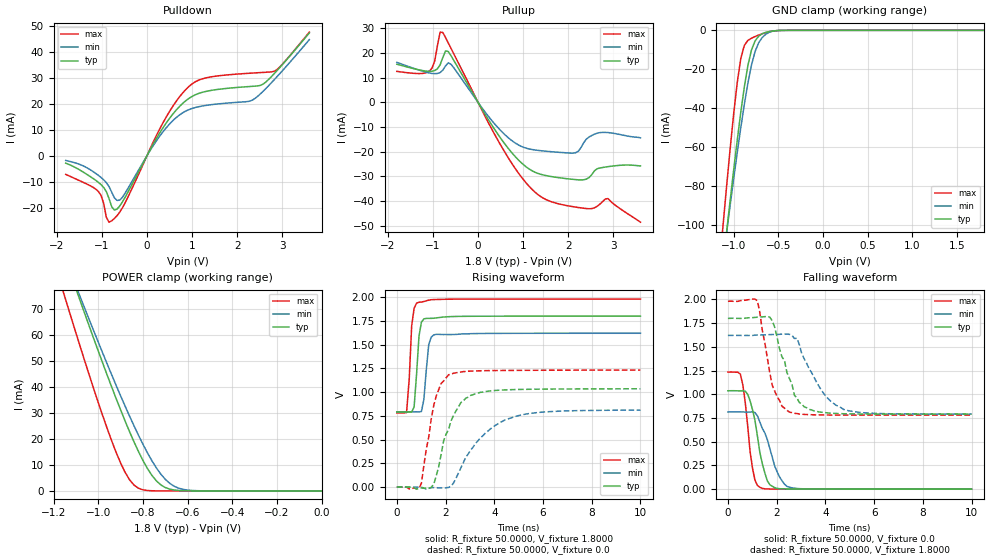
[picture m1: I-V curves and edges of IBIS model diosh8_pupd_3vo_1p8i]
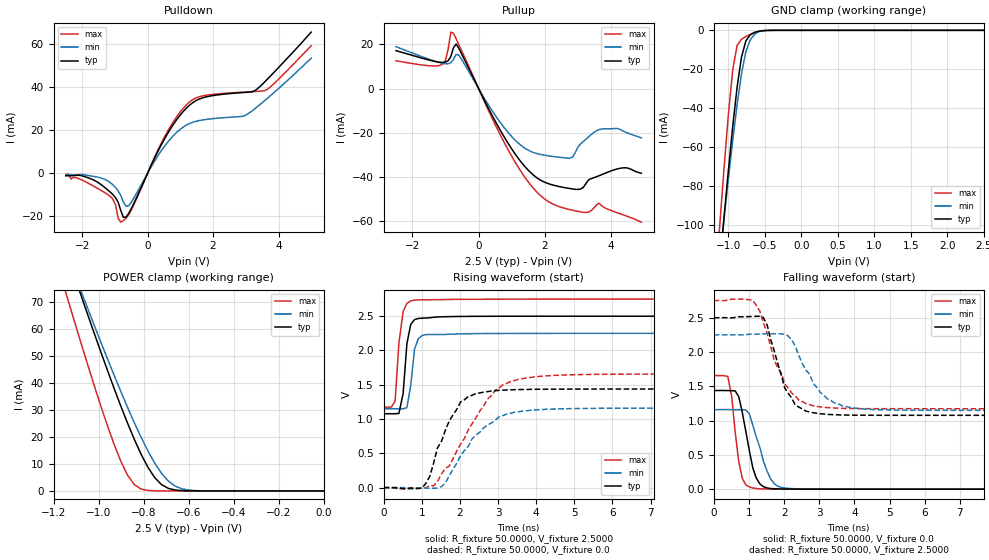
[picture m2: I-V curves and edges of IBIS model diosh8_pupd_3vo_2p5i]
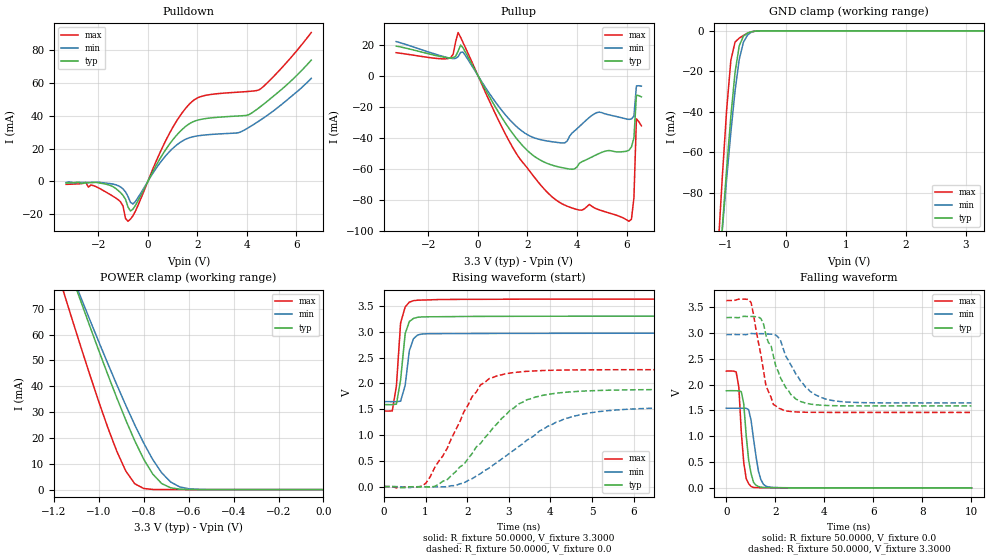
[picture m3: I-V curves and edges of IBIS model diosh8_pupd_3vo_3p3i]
| SMSC
| 80 Arkay Drive
| Hauppauge,NY 11788
[IBIS Ver]   4.0
[Comment char]  |_char
[File name]   lan8742i.ibs
[File Rev]   1.0
[Date]   21-APR-2009
[Source]
 Smc2Ibis2.6 Pin Info
 ibispkg1.0 Package Summary Info
 ibisrev1.0 Revision Control Info
 s2ibis2 Version 0.91BETA SPICE to IBIS
   North Carolina State
   Electronics Research Laboratory 1995
   as modified
[Notes] created by SMSC
[Disclaimer]
 SMSC herby grants
 the user of this IBIS model a non-exclusive,
 nontransferrable license to use this IBIS model
 under the following terms. Before using this
 IBIS model, the user should read this license.
 If the user does not accept these terms. the
 IBIS model should be returned to SMSC within 30
 days.
 The user is granted this license only to use
 the IBIS model and is not granted rights to
 sell, load, rent, lease or license the IBIS
 model in whole or in part, or in modified form
 to anyone other than user. User may modify the
 IBIS model to suit its specific applications
 but rights to derivative works and such
 modifications shall belong to SMSC.
 The IBIS model is provided on an "AS IS" basis
 and SMSC makes no warranty with respect to the
 information contained herein. SMSC DISCLAIMS
 AND CUSTOMER WAIVES ALL WARRANTIES, EXPRESS OR
 IMPLIED, INCLUDING WARRANTIES OF MERCHANTABILITY
 OR FITNESS FOR A PARTICULAR PURPOSE. The entire
 risk as to quality and performance is with the
 Customer. ACCORDINGLY, IN NO EVENT SHALL THE
 COMPANY BE LIABLE FOR ANY DAMAGE, WHETHER IN
 CONTRACT OR TORT, INCLUDING ANY LOST PROFITS
 OR OTHER INCIDENTAL, CONSEQUENTIAL, EXEMPLARY,
 OR PUNITIVE DAMAGES ARISING OUT OF THE USE OR
 APPLICATION OF THE IBIS model provided in this
 package. Further, SMSC reserves the right to
 make changes without notice to any product
 herein to improve reliability, function, or
 design. SMSC does not convey any license under
 patent rights or any other intellectual
 property rights, including those of third
 parties.
 SMSC is not obligated to provide maintaince
 or support for the licensed IBIS model.
[Copyright] (C) Copyright 2008, Standard Microsystems Corporation,
   All Rights Reserved
[Component] lan8742i
[Manufacturer] SMSC
[Package]
| variable   typ   min   max
R_pkg   137.9m   76.82m   198.95m
L_pkg   0.99nH   0.67nH   1.30nH
C_pkg   1.8pF   0.20pF   3.4pF
| ----Pin----
[Pin] signal_name   model_name   R_pin   L_pin   C_pin
1   VDD2A   POWER   146.25m   1.14n   0.24p
2   LED2/nINTSEL   diosh12_pupd_5i   124.97m   1.04n   0.22p
3   LED1/REGOFF   diosh12_pupd_5i   116.89m   0.96n   0.21p
4   XTAL2   apada_5i   120.11m   1.01n   0.21p
5   XTAL1/CLKIN   apada_5i   138.30m   1.18n   0.22p
6   VDDCR   POWER   189.80m   1.30n   0.30p
7   RXD1/MODE1   diosh8_pupd_3vo   139.92m   1.21n   0.22p
8   RXD0/MODE0   diosh8_pupd_3vo   123.21m   1.02n   0.22p
9   VDDIO   POWER   128.11m   0.94n   0.22p
10   RXER/RXD4/PHYAD0  diosh8_pupd_3vo   114.84m   0.95n   0.20p
11   COL/CRS_DV/MODE2  diosh8_pupd_3vo   120.22m   1.00n   0.21p
12   MDIO   diosh8_pupd_3vo   138.28m   1.18n   0.23p
13   MDC   diosh8_pupd_3vo   138.01m   1.18n   0.22p
14   nINT/TXER/TXD4   diosh8_pupd_3vo   121.15m   1.01n   0.21p
15   nRST   diosh8_pupd_3vo   115.94m   0.96n   0.20p
16   TXEN   diosh8_pupd_3vo   115.99m   0.96n   0.20p
17   TXD0   diosh8_pupd_3vo   127.09m   1.05n   0.22p
18   TXD1   diosh8_pupd_3vo   145.42m   1.26n   0.23p
19   VDD1A   POWER   198.95m   1.25n   0.29p
20   TXN   apada_5i   134.31m   1.10n   0.22p
21   TXP   apada_5i   118.66m   0.97n   0.21p
22   RXN   apada_5i   115.62m   0.94n   0.20p
23   RXP   apada_5i   126.52m   1.04n   0.22p
24   RBIAS   NC   134.69m   1.16n   0.21p
25   GND   GND   76.82m   0.67n   3.40p
| PinMap
[Pin Mapping]	pulldown_ref	pullup_ref	gnd_clamp_ref	power_clamp_ref
1   NC   VDD2A   NC   NC
2   GND   VDDIO   GND   VDDIO
3   GND   VDDIO   GND   VDDIO
4   NC   NC   NC   NC
5   NC   NC   NC   NC
6   NC   VDDCR   NC   NC
7   GND   VDDIO   GND   VDDIO
8   GND   VDDIO   GND   VDDIO
9   NC   VDDIO   NC   NC
10   GND   VDDIO   GND   VDDIO
11   GND   VDDIO   GND   VDDIO
12   GND   VDDIO   GND   VDDIO
13   GND   VDDIO   GND   VDDIO
14   GND   VDDIO   GND   VDDIO
15   GND   VDDIO   GND   VDDIO
16   GND   VDDIO   GND   VDDIO
17   GND   VDDIO   GND   VDDIO
18   GND   VDDIO   GND   VDDIO
19   NC   VDD1A   NC   NC
20   GND   VDDIO   GND   VDDIO
21   GND   VDDIO   GND   VDDIO
22   GND   VDDIO   GND   VDDIO
23   GND   VDDIO   GND   VDDIO
24   NC   NC   NC   NC
25   GND   NC   NC   NC
| IBIS file apad_5.ibs created by s2ibis3 version 1.2
| North Carolina State University, ERL, 2006
[Model Selector]   diosh8_pupd_3vo
| Remark: If your software does not support the Model Selector
|   Please comment out the lines of the Model Selector, which
|   contain the name of the Model, except the one you want to use.
diosh8_pupd_3vo_1p8i  industrial temp 1.8V I/O model
diosh8_pupd_3vo_2p5i  industrial temp 2.5V I/O model
diosh8_pupd_3vo_3p3i  industrial temp 3.3V I/O model
| Models and submodels in the file (5): diosh8_pupd_3vo_1p8i (I/O), diosh8_pupd_3vo_2p5i (I/O), diosh8_pupd_3vo_3p3i (I/O), diosh12_pupd_5i (I/O), apada_5i (Input)
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|   Model diosh8_pupd_3vo_1p8i
[Model]  diosh8_pupd_3vo_1p8i
Model_type I/O
Polarity   Non-Inverting
Enable   Active-Low
Vinl =   0.0V
Vinh =   1.8000V
Vmeas =  1.6500V
Vref =   0.0V
C_comp   1.5710pF   1.4139pF   1.7281pF
[Temperature Range]   42.0000   85.0000   -40.0000
[Voltage Range]   1.8000V   1.6200V   1.9800V
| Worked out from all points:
|   slope of the pulldown table from 0 to 0.27 V, typ, clamps not added: 32.1 ohm
|   slope of the pullup table from 0 to 0.27 V, typ, clamps not added: 32.9 ohm
|   GND clamp passes 1 mA (typ) near -0.64 V on its own axis
|   POWER clamp passes 1 mA (typ) near -0.69 V on its own axis
|   rising waveform, R_fixture 50.0000, V_fixture 1.8000: 20-80 % time 162ps typ, 171ps min, 160ps max; typ from 0.791 V to 1.8 V
|   rising waveform, R_fixture 50.0000, V_fixture 0.0: 20-80 % time 782ps typ, 1.48ns min, 536ps max; typ from 0 V to 1.04 V
|   falling waveform, R_fixture 50.0000, V_fixture 0.0: 20-80 % time 460ps typ, 661ps min, 322ps max; typ from 1.04 V to 0 V
|   falling waveform, R_fixture 50.0000, V_fixture 1.8000: 20-80 % time 707ps typ, 1.1ns min, 567ps max; typ from 1.8 V to 0.791 V
[Pulldown]
|Voltage   I(typ)   I(min)   I(max)
-1.8V     -2.825mA   -1.774mA   -7.153mA
-1.08V    -10.17mA   -7.484mA   -13.67mA
-840mV    -16.49mA   -11.86mA   -25.6mA
-780mV    -19.66mA   -14.05mA   -25.06mA
-660mV    -20.51mA   -17.23mA   -23.02mA
-540mV    -17.69mA   -15.92mA   -19.97mA
360mV     10.9mA     9.343mA    12.84mA
900mV     21.75mA    17.58mA    26.23mA
1.32V     24.87mA    19.46mA    30.09mA
2.34V     26.79mA    21.5mA     31.91mA
2.88V     32.79mA    30.45mA    33.22mA
3.6V      47.39mA    44.81mA    47.71mA
[Pullup]
|Voltage   I(typ)   I(min)   I(max)
-1.8V     15.47mA    16.22mA    12.56mA
-1.08V    12.57mA    11.93mA    12.65mA
-960mV    12.91mA    11.62mA    16.79mA
-840mV    15.21mA    12.09mA    28.5mA
-780mV    18.2mA     13.06mA    28.33mA
-600mV    18.97mA    15.48mA    21.94mA
480mV     -14mA      -11.02mA   -16.66mA
1.2V      -27.79mA   -19.14mA   -35.35mA
2.16V     -31.34mA   -20.47mA   -42.49mA
2.46V     -30.54mA   -14.08mA   -43.17mA
2.88V     -26.09mA   -12.26mA   -39.03mA
3.6V      -25.8mA    -14.39mA   -48.62mA
[GND_clamp]
|Voltage   I(typ)   I(min)   I(max)
-1.8V     -421.3mA   -375.8mA   -471.8mA
-1.12V    -120.8mA   -118.7mA   -100.9mA
-1.08V    -104.1mA   -104.3mA   -80.76mA
-1.04V    -87.79mA   -90.18mA   -61.39mA
-1V       -71.87mA   -76.36mA   -43.18mA
-960mV    -56.56mA   -62.94mA   -27.03mA
-920mV    -42.12mA   -50.07mA   -14.56mA
-880mV    -29.03mA   -37.99mA   -7.711mA
-800mV    -10.08mA   -17.85mA   -4.028mA
-720mV    -3.018mA   -6.428mA   -2.429mA
-560mV    -334.2uA   -402.9uA   -376.2uA
1.8V      -30.54pA   -780.5pA   66.51pA
[POWER_clamp]
|Voltage   I(typ)   I(min)   I(max)
-1.8V     255.5mA    238.4mA    264.1mA
-1.16V    92.47mA    92.04mA    77.5mA
-1.14V    87.55mA    87.61mA    71.89mA
-1.08V    72.91mA    74.44mA    55.31mA
-980mV    49.17mA    53.01mA    28.97mA
-920mV    35.57mA    40.63mA    14.88mA
-860mV    22.85mA    28.83mA    4.332mA
-820mV    15.2mA     21.46mA    1.04mA
-740mV    3.907mA    8.914mA    24.48uA
-700mV    1.311mA    4.498mA    3.471uA
-640mV    175.3uA    1.058mA    184.8nA
0V        682.2pA    2.209nA    242.5pA
[Ramp]
| variable   typ   min   max
dV/dt_r  0.6213/0.8013n   0.4866/1.4781n   0.7397/0.4983n
dV/dt_f  0.6054/0.7318n   0.4972/1.0170n   0.7196/0.5278n
R_load = 50.0000
[Rising Waveform]
R_fixture= 50.0000
V_fixture= 1.8000
V_fixture_min= 1.6200
V_fixture_max= 1.9800
|time   V(typ)   V(min)   V(max)
0s        791.4mV    791.6mV    781.8mV
400ps     791.9mV    791.9mV    785mV
610ps     791mV      792.1mV    1.698V
710ps     844.1mV    792.8mV    1.883V
810ps     1.186V     793.5mV    1.937V
910ps     1.59V      791.3mV    1.946V
1.01ns    1.737V     796.6mV    1.948V
1.31ns    1.777V     1.5V       1.969V
1.52ns    1.778V     1.603V     1.975V
10ns      1.8V       1.62V      1.98V
[Rising Waveform]
R_fixture= 50.0000
V_fixture= 0.0
V_fixture_min= 0.0
V_fixture_max= 0.0
|time   V(typ)   V(min)   V(max)
0s        429.6uV    290.4uV    1.161mV
910ps     -15.91mV   536.4uV    -14.98mV
1.01ns    -8.753mV   -1.497mV   41.26mV
1.52ns    32.87mV    -4.452mV   865.7mV
1.92ns    484.9mV    -8.018mV   1.118V
2.12ns    604.6mV    -3.375mV   1.183V
2.83ns    936.5mV    314.4mV    1.218V
3.43ns    998mV      519.8mV    1.225V
4.44ns    1.024V     707.6mV    1.228V
10ns      1.036V     811mV      1.233V
[Falling Waveform]
R_fixture= 50.0000
V_fixture= 0.0
V_fixture_min= 0.0
V_fixture_max= 0.0
|time   V(typ)   V(min)   V(max)
0s        1.036V     813.3mV    1.233V
510ps     1.036V     813.4mV    1.213V
710ps     1.032V     812.7mV    917mV
1.01ns    837mV      813.9mV    219mV
1.11ns    723.3mV    806.7mV    95.41mV
1.31ns    387.2mV    708mV      20.04mV
1.72ns    46.71mV    428mV      1.909mV
2.12ns    4.73mV     129mV      753.6uV
2.53ns    1.609mV    20.07mV    295.2uV
10ns      2.275uV    306.4nV    2.65uV
[Falling Waveform]
R_fixture= 50.0000
V_fixture= 1.8000
V_fixture_min= 1.6200
V_fixture_max= 1.9800
|time   V(typ)   V(min)   V(max)
0s        1.799V     1.62V      1.979V
1.21ns    1.811V     1.624V     1.984V
1.82ns    1.773V     1.629V     1.093V
2.22ns    1.392V     1.633V     872.7mV
2.53ns    1.162V     1.631V     811.1mV
2.83ns    962mV      1.589V     796.5mV
3.13ns    867.8mV    1.374V     787.4mV
4.04ns    804.6mV    971.8mV    781.4mV
4.75ns    794.6mV    839.1mV    780.8mV
10ns      790.9mV    791.4mV    780.6mV
|   Model diosh8_pupd_3vo_2p5i
[Model]  diosh8_pupd_3vo_2p5i
Model_type I/O
Polarity   Non-Inverting
Enable   Active-Low
Vinl =   0.0V
Vinh =   2.5000V
Vmeas =  1.6500V
Vref =   0.0V
C_comp   1.5710pF   1.4139pF   1.7281pF
[Temperature Range]   42.0000   85.0000   -40.0000
[Voltage Range]   2.5000V   2.2500V   2.7500V
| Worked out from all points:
|   slope of the pulldown table from 0 to 0.375 V, typ, clamps not added: 31.4 ohm
|   slope of the pullup table from 0 to 0.375 V, typ, clamps not added: 33.4 ohm
|   GND clamp passes 1 mA (typ) near -0.64 V on its own axis
|   POWER clamp passes 1 mA (typ) near -0.69 V on its own axis
|   rising waveform, R_fixture 50.0000, V_fixture 2.5000: 20-80 % time 144ps typ, 144ps min, 151ps max; typ from 1.08 V to 2.5 V
|   rising waveform, R_fixture 50.0000, V_fixture 0.0: 20-80 % time 653ps typ, 989ps min, 1.05ns max; typ from 0.001 V to 1.44 V
|   falling waveform, R_fixture 50.0000, V_fixture 0.0: 20-80 % time 328ps typ, 430ps min, 226ps max; typ from 1.44 V to 0 V
|   falling waveform, R_fixture 50.0000, V_fixture 2.5000: 20-80 % time 567ps typ, 775ps min, 685ps max; typ from 2.5 V to 1.08 V
[Pulldown]
|Voltage   I(typ)   I(min)   I(max)
-2.5V     -1.199mA   -773.3uA   -615.4uA
-1.78V    -2.314mA   -1.152mA   -4.903mA
-1.14V    -8.785mA   -4.39mA    -10.79mA
-820mV    -17.3mA    -10.36mA   -22.73mA
-740mV    -20.51mA   -13.43mA   -22mA
-580mV    -18.68mA   -15.15mA   -19.27mA
540mV     16.54mA    12.99mA    17.52mA
1.26V     31.31mA    22.92mA    32.81mA
1.82V     35.54mA    25.03mA    36.27mA
3.26V     38.17mA    29.74mA    37.92mA
3.74V     44.9mA     35.84mA    39.92mA
5V        65.52mA    53.42mA    59.19mA
[Pullup]
|Voltage   I(typ)   I(min)   I(max)
-2.5V     17.2mA     19.01mA    12.62mA
-1.16V    11.91mA    11.68mA    10.57mA
-1V       12.02mA    11.24mA    12.83mA
-840mV    14.5mA     11.75mA    25.63mA
-760mV    18.53mA    13.27mA    25.12mA
-600mV    18.35mA    15.26mA    19.98mA
840mV     -23.61mA   -18.99mA   -26.33mA
1.8V      -40.89mA   -29.63mA   -47.54mA
2.76V     -45.37mA   -31.55mA   -54.95mA
3.72V     -39.08mA   -18.37mA   -53.16mA
4.36V     -35.98mA   -19.21mA   -57.26mA
4.92V     -38.43mA   -22.36mA   -60.64mA
[GND_clamp]
|Voltage   I(typ)   I(min)   I(max)
-2.5V     -735.1mA   -643.4mA   -864.8mA
-1.12V    -120.8mA   -118.7mA   -100.9mA
-1.06V    -95.91mA   -97.2mA    -70.95mA
-1V       -71.87mA   -76.35mA   -43.2mA
-940mV    -49.21mA   -56.43mA   -20.19mA
-880mV    -29.03mA   -38mA      -7.711mA
-820mV    -13.63mA   -22.21mA   -4.532mA
-760mV    -5.42mA    -10.93mA   -3.18mA
-700mV    -2.292mA   -4.9mA     -2.083mA
-640mV    -1.046mA   -2mA       -1.177mA
-520mV    -166.8uA   -158.4uA   -172uA
2.5V      59.04pA    -661pA     112.9pA
[POWER_clamp]
|Voltage   I(typ)   I(min)   I(max)
-2.5V     438.1mA    402.5mA    473mA
-1.14V    87.55mA    87.61mA    71.89mA
-1.08V    72.91mA    74.44mA    55.31mA
-1.05V    65.69mA    67.93mA    47.19mA
-960mV    44.57mA    48.83mA    24.04mA
-870mV    24.88mA    30.74mA    5.683mA
-810mV    13.44mA    19.71mA    676uA
-750mV    4.902mA    10.26mA    39.82uA
-720mV    2.346mA    6.504mA    9.224uA
-660mV    352.4uA    1.805mA    491.1nA
-600mV    42.13uA    328uA      26.49nA
0V        824.4pA    2.589nA    327.9pA
[Ramp]
| variable   typ   min   max
dV/dt_r  0.8630/0.6142n   0.6957/0.9581n   0.9936/1.0568n
dV/dt_f  0.8540/0.5396n   0.6605/0.7838n   0.9464/0.6875n
R_load = 50.0000
[Rising Waveform]
R_fixture= 50.0000
V_fixture= 2.5000
V_fixture_min= 2.2500
V_fixture_max= 2.7500
|time   V(typ)   V(min)   V(max)
0s        1.077V     1.15V      1.174V
300ps     1.078V     1.15V      1.259V
400ps     1.082V     1.15V      2.108V
510ps     1.37V      1.15V      2.566V
610ps     2.1V       1.166V     2.688V
710ps     2.379V     1.491V     2.724V
810ps     2.451V     2.019V     2.735V
910ps     2.467V     2.172V     2.738V
1.11ns    2.473V     2.232V     2.74V
10ns      2.5V       2.25V      2.75V
[Rising Waveform]
R_fixture= 50.0000
V_fixture= 0.0
V_fixture_min= 0.0
V_fixture_max= 0.0
|time   V(typ)   V(min)   V(max)
0s        765.9uV    402.7uV    1.838mV
1.01ns    -3.563mV   -2.169mV   -5.571mV
1.21ns    165.5mV    -9.172mV   30.56mV
1.52ns    681mV      16.06mV    200.8mV
1.72ns    972.9mV    171.9mV    313.8mV
2.02ns    1.251V     472.2mV    637.2mV
2.42ns    1.372V     765.5mV    1.019V
2.93ns    1.414V     984.5mV    1.423V
3.74ns    1.432V     1.121V     1.599V
10ns      1.438V     1.159V     1.656V
[Falling Waveform]
R_fixture= 50.0000
V_fixture= 0.0
V_fixture_min= 0.0
V_fixture_max= 0.0
|time   V(typ)   V(min)   V(max)
0s        1.438V     1.159V     1.655V
400ps     1.437V     1.16V      1.643V
510ps     1.436V     1.159V     1.349V
710ps     1.35V      1.158V     406.2mV
810ps     1.121V     1.158V     160.6mV
1.01ns    565.6mV    1.1V       33.23mV
1.31ns    77.35mV    611.9mV    4.775mV
1.62ns    8.715mV    148mV      1.832mV
1.92ns    2.678mV    25.74mV    1.162mV
10ns      295nV      1.436uV    2.871uV
[Falling Waveform]
R_fixture= 50.0000
V_fixture= 2.5000
V_fixture_min= 2.2500
V_fixture_max= 2.7500
|time   V(typ)   V(min)   V(max)
0s        2.499V     2.249V     2.748V
1.11ns    2.518V     2.261V     2.751V
1.41ns    2.502V     2.263V     2.43V
1.72ns    2.016V     2.264V     1.884V
2.02ns    1.474V     2.258V     1.535V
2.22ns    1.326V     2.172V     1.401V
2.63ns    1.136V     1.73V      1.245V
3.23ns    1.09V      1.317V     1.189V
3.84ns    1.08V      1.195V     1.176V
10ns      1.077V     1.149V     1.173V
|   Model diosh8_pupd_3vo_3p3i
[Model]  diosh8_pupd_3vo_3p3i
Model_type I/O
Polarity   Non-Inverting
Enable   Active-Low
Vinl =   0.0V
Vinh =   3.3000V
Vmeas =  1.6500V
Vref =   0.0V
C_comp   1.5710pF   1.4139pF   1.7281pF
[Temperature Range]   42.0000   85.0000   -40.0000
[Voltage Range]   3.3000V   2.9700V   3.6300V
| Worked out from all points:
|   slope of the pulldown table from 0 to 0.495 V, typ, clamps not added: 35.5 ohm
|   slope of the pullup table from 0 to 0.495 V, typ, clamps not added: 34.2 ohm
|   GND clamp passes 1 mA (typ) near -0.64 V on its own axis
|   POWER clamp passes 1 mA (typ) near -0.69 V on its own axis
|   rising waveform, R_fixture 50.0000, V_fixture 3.3000: 20-80 % time 139ps typ, 149ps min, 122ps max; typ from 1.59 V to 3.3 V
|   rising waveform, R_fixture 50.0000, V_fixture 0.0: 20-80 % time 1.27ns typ, 1.69ns min, 910ps max; typ from 0.001 V to 1.88 V
|   falling waveform, R_fixture 50.0000, V_fixture 0.0: 20-80 % time 241ps typ, 288ps min, 196ps max; typ from 1.88 V to 0 V
|   falling waveform, R_fixture 50.0000, V_fixture 3.3000: 20-80 % time 834ps typ, 1.02ns min, 526ps max; typ from 3.3 V to 1.59 V
[Pulldown]
|Voltage   I(typ)   I(min)   I(max)
-3.3V     -915.1uA   -588.1uA   -1.767mA
-2.5V     -837.1uA   -563.5uA   -577.3uA
-1.5V     -2.503mA   -1.347mA   -8.159mA
-1.1V     -6.834mA   -3.342mA   -12.42mA
-800mV    -15.53mA   -9.156mA   -24.29mA
-600mV    -16.87mA   -13.74mA   -20.95mA
800mV     21.15mA    16.98mA    27.19mA
1.7V      35.42mA    26.78mA    47.52mA
2.3V      38.29mA    28.35mA    52.42mA
3.7V      39.99mA    29.91mA    54.53mA
4.5V      45.07mA    36.98mA    55.91mA
6.6V      74.01mA    62.89mA    90.82mA
[Pullup]
|Voltage   I(typ)   I(min)   I(max)
-3.3V     18.98mA    21.9mA     14.73mA
-1.2V     11.4mA     11.45mA    10.98mA
-800mV    15.69mA    12.12mA    27.71mA
-600mV    17.8mA     15.09mA    21.23mA
1.9V      -46.79mA   -37.14mA   -57.69mA
3.5V      -59.69mA   -43.44mA   -83.46mA
3.9V      -60.15mA   -35.69mA   -85.86mA
4.8V      -50.92mA   -23.87mA   -85.97mA
6.2V      -45.95mA   -27.99mA   -92.56mA
6.3V      -40.21mA   -26.13mA   -78.71mA
6.4V      -12.62mA   -6.66mA    -27.88mA
6.6V      -13.75mA   -6.842mA   -32.39mA
[GND_clamp]
|Voltage   I(typ)   I(min)   I(max)
-3.3V     -1.1A      -956mA     -1.315A
-1.13V    -125mA     -122.3mA   -106mA
-1.06V    -95.92mA   -97.2mA    -70.97mA
-990mV    -67.98mA   -72.96mA   -38.92mA
-920mV    -42.12mA   -50.08mA   -14.56mA
-850mV    -20.53mA   -29.67mA   -5.592mA
-780mV    -7.383mA   -14.07mA   -3.587mA
-710mV    -2.627mA   -5.616mA   -2.253mA
-640mV    -1.046mA   -2mA       -1.177mA
-570mV    -391.7uA   -504.5uA   -447.2uA
-430mV    -25.22uA   -18.45uA   -18.51uA
3.3V      172.8pA    -504.9pA   164.2pA
[POWER_clamp]
|Voltage   I(typ)   I(min)   I(max)
-3.28V    643.1mA    591.5mA    707.3mA
-1.16V    92.47mA    92.04mA    77.5mA
-1.12V    82.64mA    83.2mA     66.32mA
-1.08V    72.91mA    74.44mA    55.31mA
-960mV    44.57mA    48.83mA    24.05mA
-880mV    26.95mA    32.68mA    7.227mA
-840mV    18.92mA    25.08mA    2.271mA
-800mV    11.76mA    18mA       431.2uA
-720mV    2.346mA    6.504mA    9.224uA
-680mV    692.3uA    2.934mA    1.306uA
-600mV    42.13uA    328uA      26.58nA
0V        1.028nA    3.261nA    426.7pA
[Ramp]
| variable   typ   min   max
dV/dt_r  1.1293/1.2621n   0.9252/1.7332n   1.3585/0.8560n
dV/dt_f  1.0279/0.7777n   0.7951/1.0165n   1.3010/0.5489n
R_load = 50.0000
[Rising Waveform]
R_fixture= 50.0000
V_fixture= 3.3000
V_fixture_min= 2.9700
V_fixture_max= 3.6300
|time   V(typ)   V(min)   V(max)
0s        1.588V     1.645V     1.464V
200ps     1.587V     1.645V     1.466V
300ps     1.597V     1.646V     1.956V
400ps     2.067V     1.654V     3.167V
510ps     2.962V     1.961V     3.478V
610ps     3.197V     2.633V     3.572V
710ps     3.256V     2.864V     3.6V
810ps     3.279V     2.936V     3.609V
1.11ns    3.288V     2.961V     3.616V
10ns      3.3V       2.97V      3.63V
[Rising Waveform]
R_fixture= 50.0000
V_fixture= 0.0
V_fixture_min= 0.0
V_fixture_max= 0.0
|time   V(typ)   V(min)   V(max)
0s        1.125mV    593.1uV    2.451mV
1.01ns    -6.199mV   -3.583mV   68.43mV
1.52ns    135.1mV    -248.9uV   741.8mV
2.12ns    642.2mV    153.7mV    1.745V
2.32ns    834.8mV    252.8mV    1.971V
2.73ns    1.228V     475.3mV    2.15V
3.43ns    1.682V     897.8mV    2.232V
4.14ns    1.807V     1.249V     2.255V
4.75ns    1.848V     1.401V     2.261V
10ns      1.882V     1.542V     2.264V
[Falling Waveform]
R_fixture= 50.0000
V_fixture= 0.0
V_fixture_min= 0.0
V_fixture_max= 0.0
|time   V(typ)   V(min)   V(max)
0s        1.881V     1.542V     2.262V
400ps     1.881V     1.543V     2.247V
510ps     1.879V     1.542V     1.95V
610ps     1.863V     1.542V     1.082V
710ps     1.628V     1.541V     492mV
810ps     1.018V     1.541V     179.7mV
1.01ns    274.4mV    1.306V     26.95mV
1.31ns    25.47mV    321.9mV    3.28mV
1.62ns    4.805mV    31.42mV    1.809mV
10ns      3.073uV    -926nV     2.639uV
[Falling Waveform]
R_fixture= 50.0000
V_fixture= 3.3000
V_fixture_min= 2.9700
V_fixture_max= 3.6300
|time   V(typ)   V(min)   V(max)
0s        3.299V     2.969V     3.628V
1.01ns    3.321V     2.99V      3.588V
1.41ns    3.28V      2.987V     2.577V
1.62ns    2.95V      2.982V     1.97V
1.92ns    2.551V     2.974V     1.616V
2.12ns    2.249V     2.916V     1.545V
2.83ns    1.722V     2.21V      1.471V
3.43ns    1.622V     1.864V     1.464V
4.04ns    1.597V     1.721V     1.462V
10ns      1.587V     1.645V     1.462V
